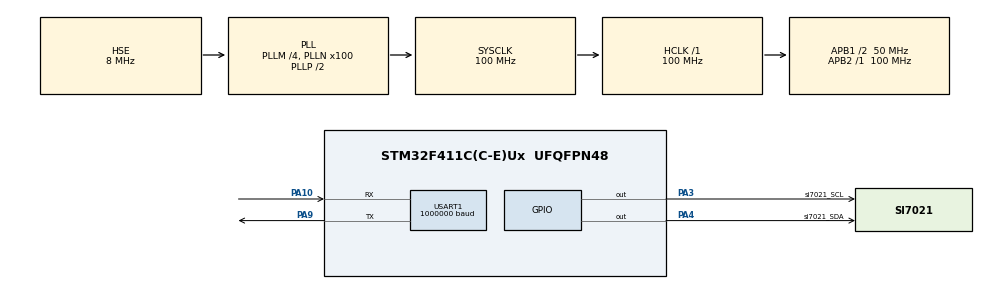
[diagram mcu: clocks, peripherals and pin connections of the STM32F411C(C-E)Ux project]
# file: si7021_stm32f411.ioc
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Dma.Request0=USART1_TX
Dma.USART1_TX.0.Direction=DMA_MEMORY_TO_PERIPH
Dma.USART1_TX.0.FIFOMode=DMA_FIFOMODE_DISABLE
Dma.USART1_TX.0.Instance=DMA2_Stream7
Dma.USART1_TX.0.MemDataAlignment=DMA_MDATAALIGN_BYTE
Dma.USART1_TX.0.MemInc=DMA_MINC_ENABLE
Dma.USART1_TX.0.Mode=DMA_NORMAL
Dma.USART1_TX.0.PeriphDataAlignment=DMA_PDATAALIGN_BYTE
Dma.USART1_TX.0.PeriphInc=DMA_PINC_DISABLE
Dma.USART1_TX.0.Priority=DMA_PRIORITY_HIGH
Mcu.Family=STM32F4
Mcu.Name=STM32F411C(C-E)Ux
Mcu.Package=UFQFPN48
NVIC.DMA2_Stream7_IRQn=true\:0\:0\:false\:false\:true\:false\:true\:true
NVIC.PriorityGroup=NVIC_PRIORITYGROUP_4
NVIC.USART1_IRQn=true\:0\:0\:false\:false\:true\:true\:true\:true
PA10.Mode=Asynchronous
PA10.Signal=USART1_RX
PA13.Mode=Serial_Wire
PA13.Signal=SYS_JTMS-SWDIO
PA14.Mode=Serial_Wire
PA14.Signal=SYS_JTCK-SWCLK
PA3.GPIO_Label=si7021_SCL
PA3.GPIO_PuPd=GPIO_PULLUP
PA3.GPIO_Speed=GPIO_SPEED_FREQ_VERY_HIGH
PA3.PinState=GPIO_PIN_SET
PA3.Signal=GPIO_Output
PA4.GPIO_Label=si7021_SDA
PA4.GPIO_ModeDefaultOutputPP=GPIO_MODE_OUTPUT_OD
PA4.GPIO_PuPd=GPIO_PULLUP
PA4.GPIO_Speed=GPIO_SPEED_FREQ_VERY_HIGH
PA4.PinState=GPIO_PIN_SET
PA4.Signal=GPIO_Output
PA9.Mode=Asynchronous
PA9.Signal=USART1_TX
PH0\ -\ OSC_IN.Mode=HSE-External-Oscillator
PH0\ -\ OSC_IN.Signal=RCC_OSC_IN
PH1\ -\ OSC_OUT.Mode=HSE-External-Oscillator
PH1\ -\ OSC_OUT.Signal=RCC_OSC_OUT
ProjectManager.HeapSize=0x200
ProjectManager.StackSize=0x400
ProjectManager.TargetToolchain=STM32CubeIDE
RCC.48MHZClocksFreq_Value=50000000
RCC.AHBFreq_Value=100000000
RCC.APB1CLKDivider=RCC_HCLK_DIV2
RCC.APB1Freq_Value=50000000
RCC.APB1TimFreq_Value=100000000
RCC.APB2Freq_Value=100000000
RCC.APB2TimFreq_Value=100000000
RCC.CortexFreq_Value=100000000
RCC.HCLKFreq_Value=100000000
RCC.HSE_VALUE=8000000
RCC.HSI_VALUE=16000000
RCC.LSE_VALUE=32768
RCC.PLLM=4
RCC.PLLN=100
RCC.PLLSourceVirtual=RCC_PLLSOURCE_HSE
RCC.SYSCLKFreq_VALUE=100000000
RCC.SYSCLKSource=RCC_SYSCLKSOURCE_PLLCLK
RCC.VCOOutputFreq_Value=200000000
TIM10.Prescaler=9999
TIM11.Prescaler=99
USART1.BaudRate=1000000
USART1.VirtualMode=VM_ASYNC
VP_TIM10_VS_ClockSourceINT.Mode=Enable_Timer
VP_TIM11_VS_ClockSourceINT.Mode=Enable_Timer
board=custom

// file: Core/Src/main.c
/* USER CODE BEGIN Header */
/**
  ******************************************************************************
  * @file           : main.c
  * @brief          : Main program body
  ******************************************************************************
  * @attention
  *
  * Copyright (c) 2024 STMicroelectronics.
  * All rights reserved.
  *
  * This software is licensed under terms that can be found in the LICENSE file
  * in the root directory of this software component.
  * If no LICENSE file comes with this software, it is provided AS-IS.
  *
  ******************************************************************************
  */
/* USER CODE END Header */
#include "main.h"
#include "dma.h"
#include "tim.h"
#include "usart.h"
#include "gpio.h"

/* USER CODE BEGIN Includes */
#include "stdbool.h"
#include "stdio.h"
#include "SI7021.h"
#include "V8.h"
/* USER CODE END Includes */

/* USER CODE BEGIN PV */
uint8_t Receive_Flag = 0;	// 接收信息判断
volatile bool Flag = false;    //启动标记
float Tw = 0;
/* USER CODE END PV */

void SystemClock_Config(void);

int main(void)
{

  /* MCU Configuration--------------------------------------------------------*/

  /* Reset of all peripherals, Initializes the Flash interface and the Systick. */
  HAL_Init();

  /* Configure the system clock */
  SystemClock_Config();

  /* Initialize all configured peripherals */
  MX_GPIO_Init();
  MX_DMA_Init();
  MX_TIM10_Init();
  MX_TIM11_Init();
  MX_USART1_UART_Init();
  /* USER CODE BEGIN 2 */

	HAL_Delay(1000);	// 系统空转 2 秒，等待外围电路上电完成
	HAL_Delay(1000);

	printf("start init\r\n");

	HAL_UART_Receive_IT(&huart1, &Receive_Flag, 1);	// 启动接收中断
	si7021_init();

	printf("Initialization complete \r\n");
  /* USER CODE END 2 */

  /* Infinite loop */
  while (1)
  {

    /* USER CODE BEGIN 3 */
	  if (true == Flag){
			Tw = 0.01 * SI7021_measure_humidity();
			Sent_data_v8(Tw);
//			printf("湿度==%f%% \r\n", Tw);
//			delay_s(2);
//		  for (int i = 0; i<10; i++) {
//				Tw = 0.01 * SI7021_measure_humidity();
//				printf("湿度==%f%% \r\n", Tw);
//				delay_s(2);
//		  }
//		  Flag = false;
	  }
	  else {
		  ;
	  }
  }
  /* USER CODE END 3 */
}

void SystemClock_Config(void)
{
  RCC_OscInitTypeDef RCC_OscInitStruct = {0};
  RCC_ClkInitTypeDef RCC_ClkInitStruct = {0};

  /** Configure the main internal regulator output voltage
  */
  __HAL_RCC_PWR_CLK_ENABLE();
  __HAL_PWR_VOLTAGESCALING_CONFIG(PWR_REGULATOR_VOLTAGE_SCALE1);

  /** Initializes the RCC Oscillators according to the specified parameters
  * in the RCC_OscInitTypeDef structure.
  */
  RCC_OscInitStruct.OscillatorType = RCC_OSCILLATORTYPE_HSE;
  RCC_OscInitStruct.HSEState = RCC_HSE_ON;
  RCC_OscInitStruct.PLL.PLLState = RCC_PLL_ON;
  RCC_OscInitStruct.PLL.PLLSource = RCC_PLLSOURCE_HSE;
  RCC_OscInitStruct.PLL.PLLM = 4;
  RCC_OscInitStruct.PLL.PLLN = 100;
  RCC_OscInitStruct.PLL.PLLP = RCC_PLLP_DIV2;
  RCC_OscInitStruct.PLL.PLLQ = 4;
  if (HAL_RCC_OscConfig(&RCC_OscInitStruct) != HAL_OK)
  {
    Error_Handler();
  }

  /** Initializes the CPU, AHB and APB buses clocks
  */
  RCC_ClkInitStruct.ClockType = RCC_CLOCKTYPE_HCLK|RCC_CLOCKTYPE_SYSCLK
                              |RCC_CLOCKTYPE_PCLK1|RCC_CLOCKTYPE_PCLK2;
  RCC_ClkInitStruct.SYSCLKSource = RCC_SYSCLKSOURCE_PLLCLK;
  RCC_ClkInitStruct.AHBCLKDivider = RCC_SYSCLK_DIV1;
  RCC_ClkInitStruct.APB1CLKDivider = RCC_HCLK_DIV2;
  RCC_ClkInitStruct.APB2CLKDivider = RCC_HCLK_DIV1;

  if (HAL_RCC_ClockConfig(&RCC_ClkInitStruct, FLASH_LATENCY_3) != HAL_OK)
  {
    Error_Handler();
  }
}

/* USER CODE BEGIN 4 */
// 串口中断回调函数
void HAL_UART_RxCpltCallback(UART_HandleTypeDef *huart) {
	if (huart->Instance == USART1) {
		if (0xAA == Receive_Flag) {
			Flag = true;
			Receive_Flag = 0;
		}
		else {
			Flag = false;
			Receive_Flag = 0;

		}
		HAL_UART_Receive_IT(huart, &Receive_Flag, 1);
	}
}
/* USER CODE END 4 */

void Error_Handler(void)
{
  __disable_irq();
  while (1)
  {
  }
}
